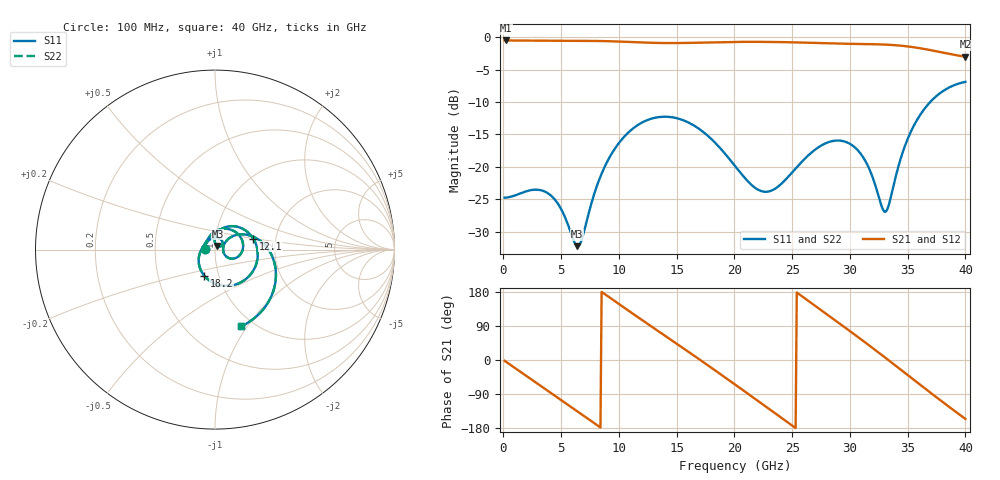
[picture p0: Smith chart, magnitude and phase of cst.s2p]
! C_s8_nonfp: L1→L8, antipad Ø0.9, non-functional pads removed
! stackup: 8-layer 1.6 mm FR-4 (generic)
! ports: 1, 2
! CST Studio Suite 2025.5 Release from 2025-05-30, time domain (FIT, hexahedral, PBA), 154800 mesh cells, 35 s
! mesh: {'lpw': 20, 'lpb': 20, 'minstep': 0.0, 'ratio': 20}; ports: port 1 (face); port 2 (face)
! interpolated from CST's 1001 samples to the case grid
# Hz S RI R 50
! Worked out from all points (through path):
!   400 points, 100 MHz to 40 GHz, reference 50 ohm
!   highest |S21| = -0.52 dB at 200 MHz (marker M1); lowest = -3.0 dB at 40 GHz (marker M2)
!   group delay of S21, straight-line fit = 60.5 ps
!   lowest |S11| = -32.2 dB at 6.4 GHz (marker M3), VSWR 1.05, Z = 51.4 + j2.08 ohm
!   |S11| at or under -10 dB: start of sweep to 36.95 GHz
!   |S22| runs from -32.2 to -6.9 dB; largest |S21 - S12| = 4.5e-07
!   S11 on the Smith chart (normalised r, x): 100 MHz: 0.89, +0.01; 12.1 GHz: 1.53, +0.20; 18.2 GHz: 0.85, -0.26; 40 GHz: 0.87, -0.94
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1e8  -0.0578 0.00423  0.9414 -0.035  0.9414 -0.035  -0.0578 0.00423
2e8  -0.0574 0.00843  0.9394 -0.0699  0.9394 -0.0699  -0.0574 0.00843
3.5e9  0.0318 0.0568  0.2554 -0.9014  0.2554 -0.9014  0.0318 0.0568
6.4e9  0.0139 0.0202  -0.6674 -0.6557  -0.6674 -0.6557  0.0139 0.0202
6.8e9  0.00605 0.0273  -0.7569 -0.5497  -0.7569 -0.5497  0.00605 0.0273
9.3e9  0.0396 0.1169  -0.886 0.2775  -0.886 0.2775  0.0396 0.1169
1.21e10  0.2134 0.0612  -0.21 0.8837  -0.21 0.8837  0.2134 0.0612
1.34e10  0.2373 -0.0457  0.214 0.8755  0.214 0.8755  0.2373 -0.0457
1.6e10  0.0921 -0.2  0.8362 0.3386  0.8362 0.3386  0.0921 -0.2
1.82e10  -0.0593 -0.1461  0.8286 -0.3809  0.8286 -0.3809  -0.0593 -0.1461
2.01e10  -0.0901 -0.0444  0.3774 -0.8366  0.3774 -0.8366  -0.0901 -0.0444
2.19e10  -0.0659 0.0167  -0.2369 -0.8879  -0.2369 -0.8879  -0.0659 0.0167
2.39e10  -0.0389 0.0606  -0.7833 -0.4742  -0.7833 -0.4742  -0.0389 0.0606
2.67e10  0.057 0.1164  -0.7772 0.4592  -0.7772 0.4592  0.057 0.1164
2.84e10  0.1392 0.0738  -0.3326 0.8291  -0.3326 0.8291  0.1392 0.0738
2.99e10  0.1522 -0.00697  0.1767 0.8697  0.1767 0.8697  0.1522 -0.00697
3.18e10  0.0776 -0.0475  0.7186 0.5122  0.7186 0.5122  0.0776 -0.0475
3.34e10  0.0478 0.0207  0.8719 -0.0267  0.8719 -0.0267  0.0478 0.0207
3.52e10  0.159 0.0851  0.602 -0.59  0.602 -0.59  0.1591 0.085
3.66e10  0.2908 0.00996  0.1735 -0.7866  0.1735 -0.7866  0.2908 0.00993
3.81e10  0.335 -0.1915  -0.289 -0.7008  -0.289 -0.7008  0.335 -0.1915
4e10  0.1441 -0.4284  -0.6421 -0.2928  -0.6421 -0.2928  0.1441 -0.4284
